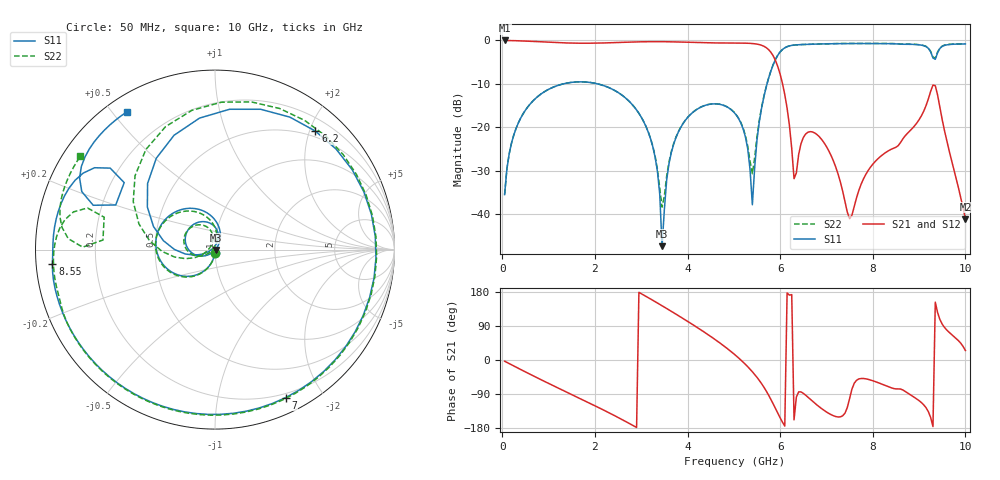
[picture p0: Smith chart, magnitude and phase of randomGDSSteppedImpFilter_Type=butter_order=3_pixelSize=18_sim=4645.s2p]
! freq	dB(S11)	phase(S11)	dB(S12)	phase(S12)
!  dB(S21)	phase(S21)	dB(S22)	phase(S22)
!S-par simulation data
#  GHz  S  DB  R 50
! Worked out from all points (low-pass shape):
!   200 points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, 50 MHz to 10 GHz, reference 50 ohm
!   highest |S21| = -0.01 dB at 50 MHz (marker M1); lowest = -41.1 dB at 10 GHz (marker M2)
!   |S21| within 3 dB of the highest: start of sweep to 5.817 GHz
!   lowest |S11| = -47.3 dB at 3.45 GHz (marker M3), VSWR 1.01, Z = 50.4 - j0.131 ohm
!   |S11| at or under -10 dB: start of sweep to 1.314 GHz; 2.061 GHz to 5.717 GHz (3.656 GHz wide, 94 % of centre)
!   |S22| runs from -38.3 to -0.7 dB; largest |S21 - S12| = 0
!   S11 on the Smith chart (normalised r, x): 50 MHz: 1.00, -0.03; 6.2 GHz: 0.40, +2.09; 7 GHz: 0.16, -1.58; 8.55 GHz: 0.05, -0.05; 10 GHz: 0.06, +0.55
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0.05  -35.47 -93.0  -0.01 -3.2  -0.01 -3.2  -35.47 -92.9
0.5  -16.04 -122.5  -0.15 -31.5  -0.15 -31.5  -16.04 -121.5
1.75  -9.54 161.9  -0.64 -105.8  -0.64 -105.8  -9.54 165.6
2.95  -16.78 84.7  -0.33 178.5  -0.33 178.5  -16.76 94.7
3.4  -35.44 47.2  -0.28 146.8  -0.28 146.8  -33.90 94.7
3.45  -47.33 -17.7  -0.29 143.2  -0.29 143.2  -38.35 134.8
3.6  -28.33 -139.2  -0.31 132.2  -0.31 132.2  -27.93 -150.8
3.85  -20.08 -159.8  -0.37 113.5  -0.37 113.5  -20.00 -158.7
5.05  -17.14 95.4  -0.60 11.0  -0.60 11.0  -17.07 111.6
5.3  -24.96 72.9  -0.65 -17.7  -0.65 -17.7  -24.32 100.5
5.4  -37.82 130.4  -0.71 -31.0  -0.71 -31.0  -30.66 149.8
5.55  -18.70 -164.4  -0.96 -53.9  -0.96 -53.9  -18.35 -158.3
5.85  -5.58 135.5  -3.55 -115.9  -3.55 -115.9  -5.55 149.6
6.2  -1.26 49.8  -19.54 171.1  -19.54 171.1  -1.26 65.4
6.3  -1.07 30.1  -31.80 -157.8  -31.80 -157.8  -1.07 45.7
6.7  -0.87 -30.3  -21.06 -108.9  -21.06 -108.9  -0.87 -16.0
7  -0.78 -64.4  -24.43 -137.2  -24.43 -137.2  -0.77 -50.9
7.5  -0.72 -108.4  -41.01 -101.7  -41.01 -101.7  -0.69 -95.3
8.35  -0.74 -163.4  -25.31 -71.0  -25.31 -71.0  -0.71 -148.4
8.55  -0.82 -174.8  -24.19 -76.3  -24.19 -76.3  -0.79 -159.0
9.35  -4.34 155.8  -10.41 152.7  -10.41 152.7  -4.06 175.1
10  -0.81 122.5  -41.05 25.1  -41.05 25.1  -0.79 145.2
